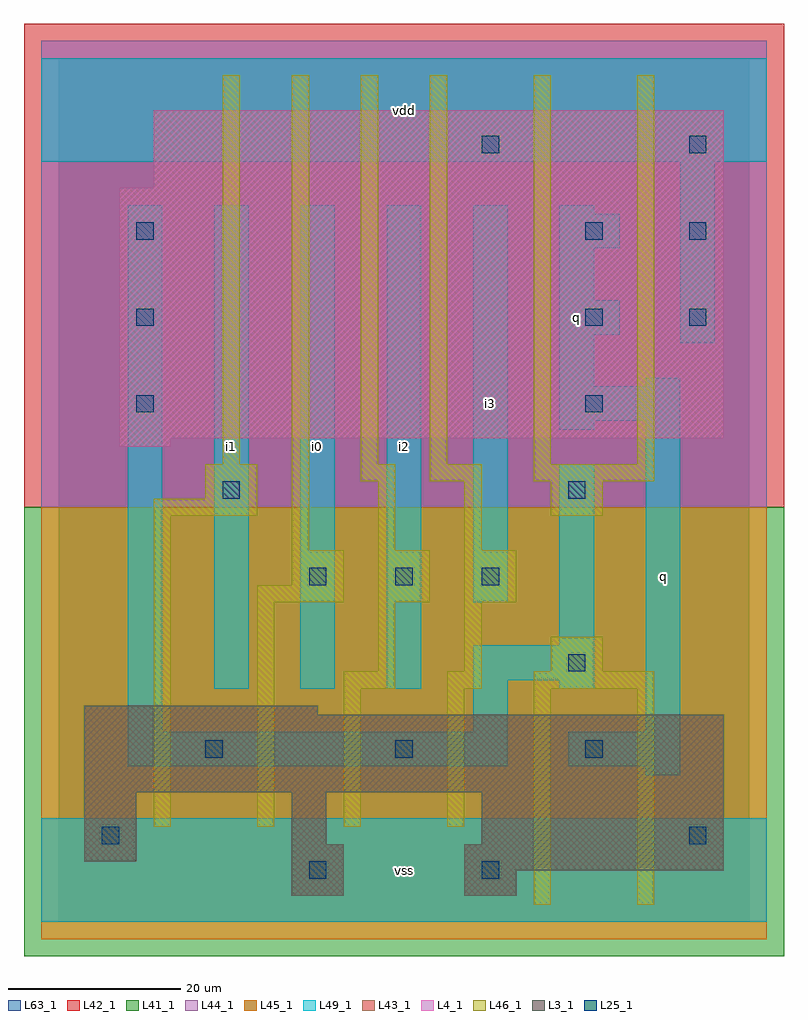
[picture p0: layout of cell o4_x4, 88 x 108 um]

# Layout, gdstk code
import gdstk
lib = gdstk.Library(unit=1e-6, precision=1e-09)
def R(c, l, rs):  # rectangles x0, y0, x1, y1
    for r in rs: c.add(gdstk.rectangle(r[:2], r[2:], *l))
def A(c, l, x, y, w, h, nx, ny, dx, dy):  # array of equal rectangles
    R(c, l, [(x+i*dx, y+j*dy, x+i*dx+w, y+j*dy+h) for i in range(nx) for j in range(ny)])
L3_1 = (3, 1)
L4_1 = (4, 1)
L25_1 = (25, 1)
L41_1 = (41, 1)
L42_1 = (42, 1)
L43_1 = (43, 1)
L44_1 = (44, 1)
L45_1 = (45, 1)
L46_1 = (46, 1)
L49_1 = (49, 1)
L63_1 = (63, 1)

o4_x4 = lib.new_cell('o4_x4')
R(o4_x4, L3_1, [(27,3,33,9), (47,3,53,6), (47,6,77,9), (3,7,9,15), (27,9,31,15), (49,9,77,15), (3,15,77,24), (3,24,30,25)])
R(o4_x4, L4_1, [(7,55,13,56), (7,56,77,85), (11,85,77,94)])
A(o4_x4, L25_1, 17, 19, 2, 2, 3, 1, 22, 0)
A(o4_x4, L25_1, 29, 39, 2, 2, 3, 1, 10, 0)
A(o4_x4, L25_1, 9, 59, 2, 2, 1, 3, 0, 10)
A(o4_x4, L25_1, 61, 59, 2, 2, 1, 3, 0, 10)
A(o4_x4, L25_1, 73, 69, 2, 2, 1, 3, 0, 10)
R(o4_x4, L25_1, [(29,5,31,7), (49,5,51,7), (5,9,7,11), (73,9,75,11), (59,29,61,31), (19,49,21,51), (59,49,61,51), (49,89,51,91)])
R(o4_x4, L41_1, [(-4,-4,84,48)])
R(o4_x4, L42_1, [(-4,48,84,104)])
R(o4_x4, L43_1, [(27,3,33,9), (47,3,53,6), (47,6,77,9), (3,7,9,15), (27,9,31,15), (49,9,77,15), (3,15,77,24), (3,24,30,25), (7,55,13,56), (7,56,77,85), (11,85,77,94)])
R(o4_x4, L44_1, [(-2,48,82,102)])
R(o4_x4, L45_1, [(-2,-2,82,48)])
A(o4_x4, L46_1, 43, 53, 2, 45, 3, 1, 12, 0)
R(o4_x4, L46_1, [(55,2,57,27), (67,2,69,27), (11,11,13,47), (23,11,25,37), (33,11,35,27), (45,11,47,27), (33,27,39,29), (45,27,49,29), (55,27,69,29), (37,29,39,37), (47,29,49,37), (57,29,63,33), (23,37,33,39), (37,37,43,43), (47,37,53,43), (27,39,33,43), (27,43,29,98), (37,43,39,51), (47,43,49,51), (11,47,23,49), (57,47,63,51), (17,49,23,53), (35,51,39,53), (43,51,49,53), (55,51,69,53), (19,53,21,98), (35,53,37,98)])
A(o4_x4, L49_1, 18, 27, 4, 56, 3, 1, 10, 0)
R(o4_x4, L49_1, [(-2,0,82,12), (68,17,72,18), (8,18,52,22), (59,18,72,22), (8,22,12,83), (48,22,52,28), (68,22,72,58), (58,27,62,28), (48,28,62,32), (58,32,62,53), (48,37,52,83), (58,57,62,58), (58,58,72,62), (58,62,62,68), (68,62,72,63), (72,67,76,88), (58,68,65,72), (58,72,62,78), (58,78,65,82), (58,82,62,83), (-2,88,82,100)])
R(o4_x4, L63_1, [(0,0,80,100)])
o4_x4.add(gdstk.Label('i1', (20,55), layer=49, texttype=1))
o4_x4.add(gdstk.Label('i0', (30,55), layer=49, texttype=1))
o4_x4.add(gdstk.Label('vss', (40,6), layer=49, texttype=1))
o4_x4.add(gdstk.Label('i2', (40,55), layer=49, texttype=1))
o4_x4.add(gdstk.Label('i3', (50,60), layer=49, texttype=1))
o4_x4.add(gdstk.Label('vdd', (40,94), layer=49, texttype=1))
o4_x4.add(gdstk.Label('q', (70,40), layer=49, texttype=1))
o4_x4.add(gdstk.Label('q', (60,70), layer=49, texttype=1))

lib.write_gds('o4_x4.gds')
